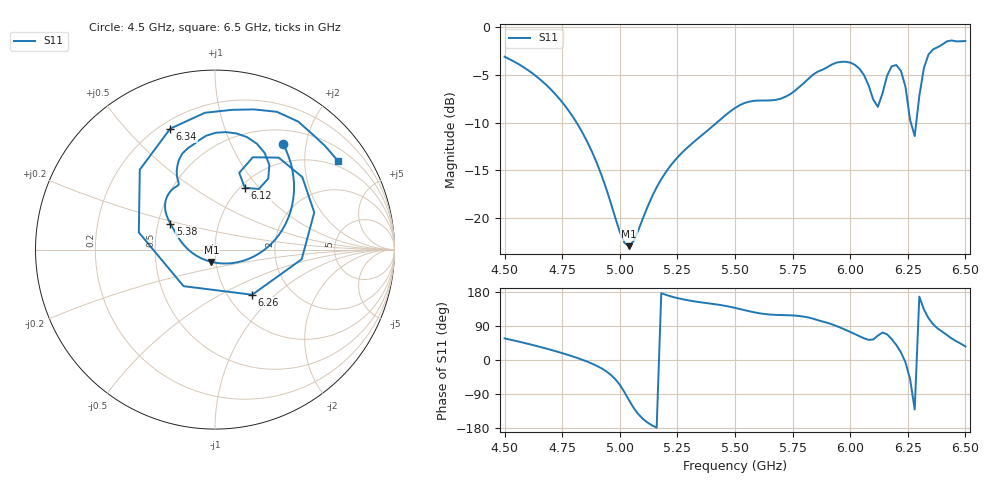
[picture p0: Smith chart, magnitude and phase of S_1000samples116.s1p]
! TOUCHSTONE file generated by CST MICROWAVE STUDIO
! Date and time: Thu Oct 27 01:24:15 2022
! Project name: L.cst
! Parameters = {Di=1.27; Epsilon_r=1.56; InnerDiameter=1.27; Length=2; Lf=10; Lg=60; OuterConductorThickness=0.2921; OuterDiameter=3.6; Wf=3; Wp=41.2; de=1.5; df=6.8; g=0.8; gx=2.8076; gy=1.90597; h=2.34; hf=1.524; px=14.3378; py=12.9217; w=9.7; wx=11.5302; wy=11.0157}
! Header version: 2018
! Port assignment regex: !\s*Touchstone port\s*([0-9]+)\s*=\s*(CST MWS port|CST DS port)\s*([0-9]+|Zmin|Zmax)\s*\(\"(.*)\"\)(\s*mode\s*([0-9]+))?.*
! Touchstone port assignment:
! Touchstone port 1 = CST MWS port 1 ("")
# GHz S DB R 50
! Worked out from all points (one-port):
!   101 points, 4.5 GHz to 6.5 GHz, reference 50 ohm
!   lowest |S11| = -22.9 dB at 5.04 GHz (marker M1), VSWR 1.15, Z = 47.6 - j6.55 ohm
!   |S11| at or under -10 dB: 4.812 GHz to 5.422 GHz (609.5 MHz wide, 11.9 % of centre); 6.263125 GHz to 6.286762 GHz (23.64 MHz wide, 0.377 % of centre)
!   S11 on the Smith chart (normalised r, x): 4.5 GHz: 0.70, +1.61; 5.38 GHz: 0.58, +0.18; 6.12 GHz: 1.05, +0.85; 6.26 GHz: 1.29, -0.73; 6.34 GHz: 0.24, +0.67; 6.5 GHz: 0.84, +2.89
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4.5  -3.11 57.0
4.64  -5.20 36.7
4.76  -8.17 16.3
4.88  -13.09 -9.7
5  -21.45 -65.4
5.04  -22.94 -106.2
5.16  -16.78 -178.6
5.26  -13.40 162.0
5.38  -10.85 149.9
5.5  -8.48 137.6
5.76  -6.67 117.2
5.9  -4.22 98.3
6  -3.72 74.1
6.06  -5.03 57.3
6.1  -7.60 54.1
6.12  -8.35 64.3
6.14  -6.97 72.5
6.18  -4.11 55.3
6.22  -4.58 20.5
6.24  -6.27 -6.4
6.26  -9.74 -50.5
6.28  -11.41 -130.7
6.3  -7.23 167.3
6.32  -4.27 133.2
6.34  -2.87 110.3
6.36  -2.33 94.2
6.42  -1.50 65.8
6.5  -1.47 35.7
